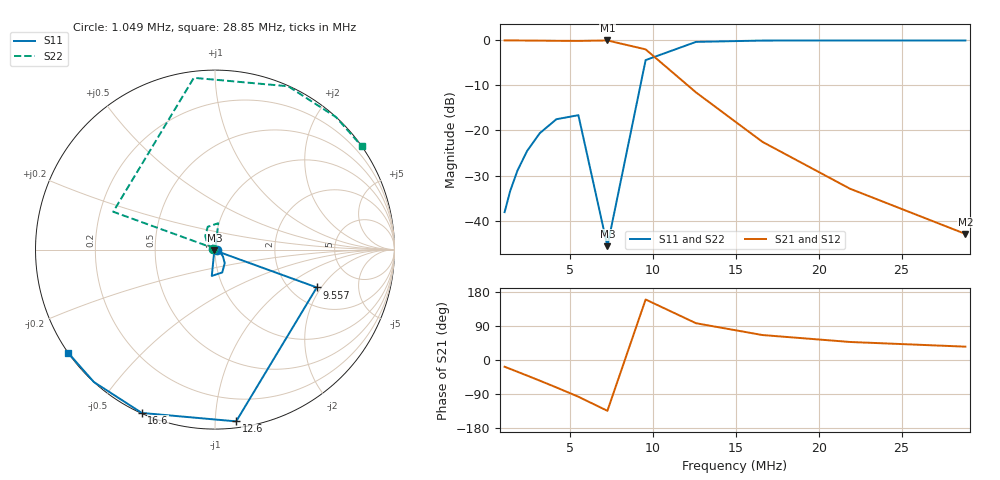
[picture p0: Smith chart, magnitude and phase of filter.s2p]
# Hz S DB R 50.00
!Frequency  S11 dB  S11 Deg  S21 dB  S21 Deg  S12 dB  S12 Deg  S22 dB  S22 Deg
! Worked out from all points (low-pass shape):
!   13 points, 1.049 MHz to 28.85 MHz, reference 50 ohm
!   highest |S21| = 0.00 dB at 7.25 MHz (marker M1); lowest = -43.0 dB at 28.85 MHz (marker M2)
!   |S21| within 3 dB of the highest: start of sweep to 9.881 MHz
!   lowest |S11| = -45.7 dB at 7.25 MHz (marker M3), VSWR 1.01, Z = 49.6 - j0.37 ohm
!   |S11| at or under -10 dB: start of sweep to 9.242 MHz
!   |S22| runs from -45.7 to 0.0 dB; largest |S21 - S12| = 0
!   S11 on the Smith chart (normalised r, x): 1.049 MHz: 1.02, -0.01; 9.557 MHz: 2.73, -1.82; 12.6 MHz: 0.04, -1.13; 16.6 MHz: 0.00, -0.65; 28.85 MHz: 0.00, -0.32
1048692  -38.13 -17.8  -0.00 -17.8  -0.00 -17.8  -38.13 162.2
1382308  -33.47 -23.5  -0.00 -23.5  -0.00 -23.5  -33.47 156.5
1822056  -28.92 -31.0  -0.01 -31.0  -0.01 -31.0  -28.92 149.0
2401700  -24.57 -41.1  -0.02 -41.1  -0.02 -41.1  -24.57 138.9
3165744  -20.61 -54.4  -0.04 -54.4  -0.04 -54.4  -20.61 125.6
4172849  -17.49 -72.4  -0.08 -72.4  -0.08 -72.4  -17.49 107.6
5500342  -16.60 -97.0  -0.10 -97.0  -0.10 -97.0  -16.60 83.0
7250145  -45.69 -134.1  -0.00 -134.1  -0.00 -134.1  -45.69 45.9
9556605  -4.36 -20.4  -1.98 159.6  -1.98 159.6  -4.36 159.6
1.259681e7  -0.32 -83.0  -11.54 97.0  -11.54 97.0  -0.32 97.0
1.660419e7  -0.02 -114.1  -22.52 65.9  -22.52 65.9  -0.02 65.9
2.188641e7  -0.00 -132.4  -32.93 47.6  -32.93 47.6  -0.00 47.6
2.884905e7  -0.00 -144.8  -42.98 35.2  -42.98 35.2  -0.00 35.2
